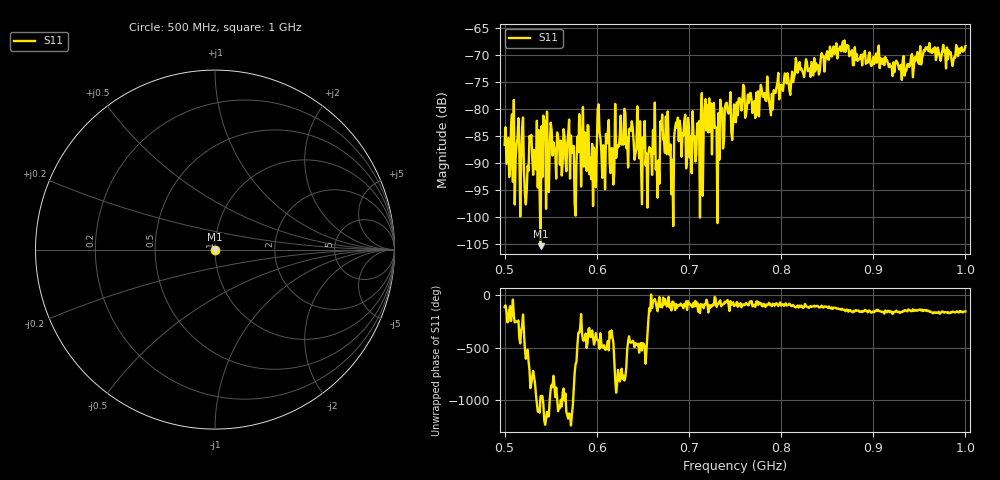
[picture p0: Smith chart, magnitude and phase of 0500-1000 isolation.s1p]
! NanoVNA-App by SYSJOINT et al v1.1.209 (+OD18)
! Date: 2025-09-17 10:09:25
! Start: 500MHz Stop: 1GHz Points: 501
! S-Parameter data: F S11
# Hz S RI R 50
!  Frequency  S11_Real  S11_Imag
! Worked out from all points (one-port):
!   501 points, 500 MHz to 1 GHz, reference 50 ohm
!   lowest |S11| = -105.4 dB at 539 MHz (marker M1), VSWR 1.00, Z = 50 + j0.000462 ohm
!   |S11| at or under -10 dB: start of sweep to end of sweep
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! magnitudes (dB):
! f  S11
! 500 MHz  -86.6
! 539 MHz  -105.4
! 563 MHz  -90.0
! 625 MHz  -84.9
! 688 MHz  -81.6
! 750 MHz  -82.3
! 758 MHz  -78.3
! 770 MHz  -78.7
! 780 MHz  -77.6
! 789 MHz  -81.1
! 795 MHz  -76.0
! 800 MHz  -75.5
! 805 MHz  -73.6
! 808 MHz  -74.7
! 813 MHz  -75.0
! 818 MHz  -73.2
! 833 MHz  -71.2
! 855 MHz  -70.2
! 871 MHz  -68.3
! 875 MHz  -69.8
! 899 MHz  -71.6
! 904 MHz  -71.4
! 921 MHz  -73.9
! 938 MHz  -71.6
! 959 MHz  -68.5
! 982 MHz  -69.1
! 987 MHz  -71.0
! 1 GHz  -68.3
